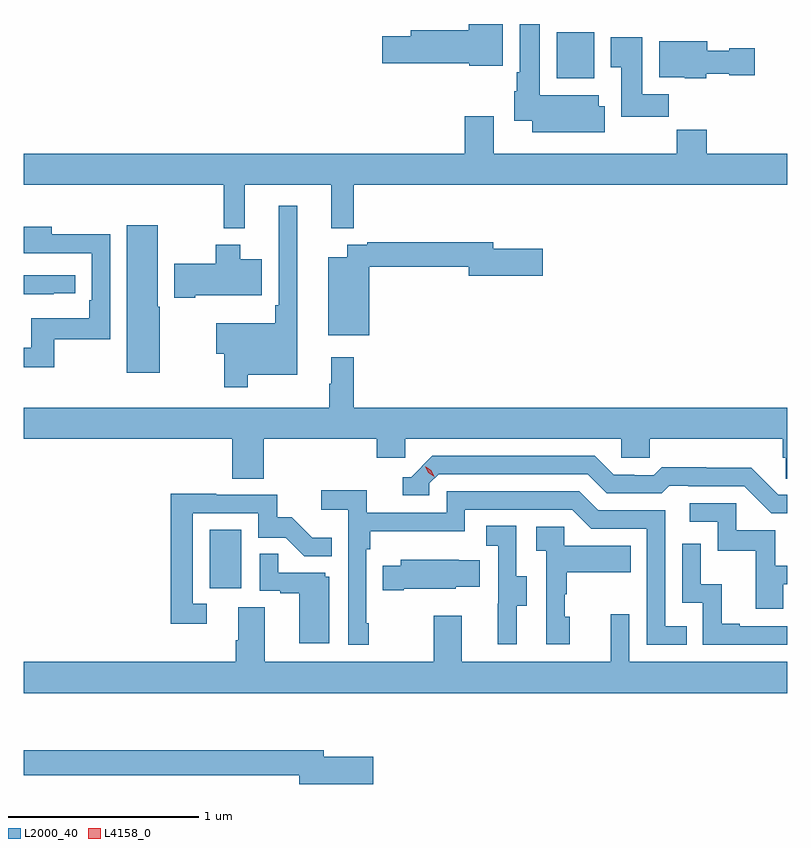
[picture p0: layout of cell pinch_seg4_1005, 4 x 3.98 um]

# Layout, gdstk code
import gdstk
lib = gdstk.Library(unit=1e-6, precision=1e-09)
def R(c, l, rs):  # rectangles x0, y0, x1, y1
    for r in rs: c.add(gdstk.rectangle(r[:2], r[2:], *l))
def P(c, l, *ps):  # polygons
    for p in ps: c.add(gdstk.Polygon(p, *l))
L2000_40 = (2000, 40)
L4158_0 = (4158, 0)

pinch_seg4_1005 = lib.new_cell('pinch_seg4_1005')
R(pinch_seg4_1005, L2000_40, [(805.79,780.054,805.954,780.361), (807.608,782.726,807.805,782.968)])
P(pinch_seg4_1005, L2000_40, [(807.859,782.579),(807.829,782.579),(807.829,782.638),(807.52,782.638),(807.52,783.011),(807.413,783.011),(807.413,782.758),(807.398,782.758),(807.398,782.658),(807.386,782.658),(807.386,782.504),(807.479,782.504),(807.479,782.444),(807.859,782.444)],
  [(807.325,783.011),(807.146,783.011),(807.146,782.978),(806.843,782.978),(806.843,782.948),(806.694,782.948),(806.694,782.806),(807.15,782.806),(807.15,782.792),(807.325,782.792)],
  [(808.196,782.644),(808.057,782.644),(808.057,782.941),(807.89,782.941),(807.89,782.785),(807.947,782.785),(807.947,782.526),(808.196,782.526)],
  [(808.392,782.75),(808.512,782.75),(808.512,782.743),(808.645,782.743),(808.645,782.885),(808.512,782.885),(808.512,782.872),(808.396,782.872),(808.396,782.92),(808.145,782.92),(808.145,782.732),(808.278,782.732),(808.278,782.726),(808.392,782.726)],
  [(806.543,782.168),(808.815,782.168),(808.815,782.332),(808.394,782.332),(808.394,782.456),(808.237,782.456),(808.237,782.332),(807.277,782.332),(807.277,782.527),(807.125,782.527),(807.125,782.332),(804.815,782.332),(804.815,782.168),(805.863,782.168),(805.863,781.94),(805.973,781.94),(805.973,782.168),(806.426,782.168),(806.426,781.939),(806.543,781.939)],
  [(805.987,781.172),(806.248,781.172),(806.248,782.059),(806.151,782.059),(806.151,781.537),(806.131,781.537),(806.131,781.441),(805.824,781.441),(805.824,781.283),(805.866,781.283),(805.866,781.107),(805.987,781.107)],
  [(805.528,781.53),(805.516,781.53),(805.516,781.957),(805.355,781.957),(805.355,781.182),(805.528,781.182)],
  [(804.973,781.359),(805.266,781.359),(805.266,781.91),(804.961,781.91),(804.961,781.948),(804.815,781.948),(804.815,781.808),(804.857,781.808),(804.857,781.809),(805.17,781.809),(805.17,781.564),(805.157,781.564),(805.157,781.468),(804.852,781.468),(804.852,781.313),(804.815,781.313),(804.815,781.212),(804.973,781.212)],
  [(806.626,781.738),(807.146,781.738),(807.146,781.691),(807.535,781.691),(807.535,781.833),(807.274,781.833),(807.274,781.867),(806.614,781.867),(806.614,781.854),(806.51,781.854),(806.51,781.789),(806.411,781.789),(806.411,781.379),(806.626,781.379)],
  [(805.714,781.589),(806.062,781.589),(806.062,781.777),(805.948,781.777),(805.948,781.855),(805.819,781.855),(805.819,781.755),(805.602,781.755),(805.602,781.577),(805.714,781.577)],
  [(804.971,781.599),(805.084,781.599),(805.084,781.695),(804.815,781.695),(804.815,781.594),(804.971,781.594)],
  [(806.072,780.836),(806.663,780.836),(806.663,780.738),(806.814,780.738),(806.814,780.836),(807.945,780.836),(807.945,780.738),(808.095,780.738),(808.095,780.836),(808.793,780.836),(808.793,780.738),(808.807,780.738),(808.807,780.628),(808.815,780.628),(808.815,781),(806.543,781),(806.543,781.264),(806.426,781.264),(806.426,781.124),(806.415,781.124),(806.415,781),(804.815,781),(804.815,780.836),(805.907,780.836),(805.907,780.628),(806.072,780.628)],
  [(808.815,780.543),(808.77,780.543),(808.628,780.685),(808.392,780.685),(808.392,780.688),(808.159,780.688),(808.117,780.645),(808.014,780.645),(808.014,780.648),(807.907,780.648),(807.808,780.747),(806.955,780.747),(806.844,780.636),(806.801,780.636),(806.801,780.54),(806.94,780.54),(806.94,780.603),(806.988,780.651),(807.771,780.651),(807.87,780.552),(808.159,780.552),(808.198,780.591),(808.297,780.591),(808.297,780.588),(808.59,780.588),(808.731,780.447),(808.815,780.447)],
  [(806.623,779.869),(806.61,779.869),(806.61,780.257),(806.63,780.257),(806.63,780.353),(807.126,780.353),(807.126,780.465),(807.69,780.465),(807.789,780.366),(808.08,780.366),(808.08,779.757),(808.289,779.757),(808.289,779.853),(808.176,779.853),(808.176,780.462),(807.826,780.462),(807.727,780.561),(807.03,780.561),(807.03,780.45),(806.612,780.45),(806.612,780.566),(806.373,780.566),(806.373,780.464),(806.514,780.464),(806.514,779.757),(806.623,779.757)],
  [(805.774,779.973),(805.701,779.973),(805.701,780.447),(806.043,780.447),(806.043,780.318),(806.187,780.318),(806.285,780.22),(806.429,780.22),(806.429,780.319),(806.325,780.319),(806.218,780.426),(806.142,780.426),(806.142,780.543),(805.823,780.543),(805.823,780.548),(805.585,780.548),(805.585,779.868),(805.774,779.868)],
  [(808.795,780.075),(808.815,780.075),(808.815,780.171),(808.753,780.171),(808.753,780.357),(808.548,780.357),(808.548,780.498),(808.305,780.498),(808.305,780.402),(808.452,780.402),(808.452,780.249),(808.651,780.249),(808.651,779.946),(808.795,779.946)],
  [(807.397,779.962),(807.451,779.962),(807.451,780.117),(807.396,780.117),(807.396,780.38),(807.237,780.38),(807.237,780.277),(807.3,780.277),(807.3,779.973),(807.299,779.973),(807.299,779.76),(807.397,779.76)],
  [(807.676,779.904),(807.651,779.904),(807.651,780.023),(807.661,780.023),(807.661,780.137),(807.995,780.137),(807.995,780.277),(807.648,780.277),(807.648,780.375),(807.501,780.375),(807.501,780.251),(807.552,780.251),(807.552,779.76),(807.676,779.76)],
  [(808.815,779.853),(808.567,779.853),(808.567,779.866),(808.472,779.866),(808.472,780.074),(808.362,780.074),(808.362,780.286),(808.266,780.286),(808.266,779.976),(808.374,779.976),(808.374,779.757),(808.815,779.757)],
  [(806.416,780.114),(806.394,780.114),(806.394,780.135),(806.147,780.135),(806.147,780.233),(806.052,780.233),(806.052,780.039),(806.159,780.039),(806.159,780.027),(806.258,780.027),(806.258,779.766),(806.416,779.766)],
  [(806.806,780.05),(807.078,780.05),(807.078,780.062),(807.203,780.062),(807.203,780.199),(807.095,780.199),(807.095,780.202),(806.789,780.202),(806.789,780.172),(806.695,780.172),(806.695,780.043),(806.806,780.043)],
  [(808.815,779.668),(807.987,779.668),(807.987,779.917),(807.89,779.917),(807.89,779.668),(807.109,779.668),(807.109,779.908),(806.962,779.908),(806.962,779.668),(806.077,779.668),(806.077,779.954),(805.937,779.954),(805.937,779.78),(805.925,779.78),(805.925,779.668),(804.815,779.668),(804.815,779.504),(808.815,779.504)],
  [(806.647,779.169),(806.386,779.169),(806.386,779.203),(804.815,779.203),(804.815,779.074),(806.258,779.074),(806.258,779.027),(806.647,779.027)])
P(pinch_seg4_1005, L4158_0, [(806.965,780.638),(806.935,780.658),(806.919,780.691),(806.919,780.691),(806.92,780.691),(806.95,780.671),(806.966,780.638),(806.966,780.638)])

lib.write_gds('pinch_seg4_1005.gds')
